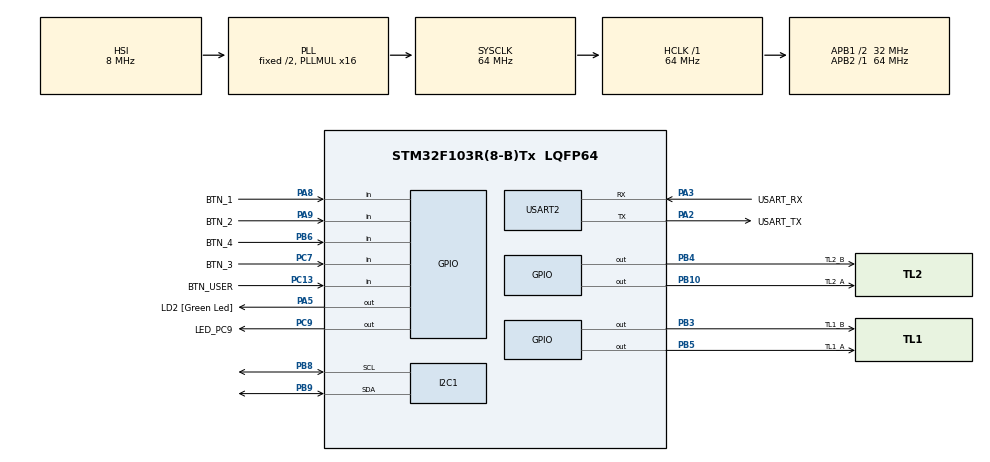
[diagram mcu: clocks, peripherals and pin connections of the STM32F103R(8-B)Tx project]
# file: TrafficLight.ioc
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Mcu.Family=STM32F1
Mcu.Name=STM32F103R(8-B)Tx
Mcu.Package=LQFP64
NVIC.PriorityGroup=NVIC_PRIORITYGROUP_4
NVIC.TIM2_IRQn=true\:0\:0\:false\:false\:true\:true\:true
PA13.GPIO_Label=TMS
PA13.Mode=Serial_Wire
PA13.Signal=SYS_JTMS-SWDIO
PA14.GPIO_Label=TCK
PA14.Mode=Serial_Wire
PA14.Signal=SYS_JTCK-SWCLK
PA2.GPIO_Label=USART_TX
PA2.GPIO_Mode=GPIO_MODE_AF_PP
PA2.GPIO_PuPd=GPIO_NOPULL
PA2.GPIO_Speed=GPIO_SPEED_FREQ_LOW
PA2.Mode=Asynchronous
PA2.Signal=USART2_TX
PA3.GPIO_Label=USART_RX
PA3.GPIO_Mode=GPIO_MODE_AF_PP
PA3.GPIO_PuPd=GPIO_NOPULL
PA3.GPIO_Speed=GPIO_SPEED_FREQ_LOW
PA3.Mode=Asynchronous
PA3.Signal=USART2_RX
PA5.GPIO_Label=LD2 [Green Led]
PA5.GPIO_ModeDefaultOutputPP=GPIO_MODE_OUTPUT_PP
PA5.GPIO_PuPd=GPIO_NOPULL
PA5.GPIO_Speed=GPIO_SPEED_FREQ_LOW
PA5.Signal=GPIO_Output
PA8.GPIO_Label=BTN_1
PA8.GPIO_PuPd=GPIO_PULLUP
PA8.Signal=GPIO_Input
PA9.GPIO_Label=BTN_2
PA9.GPIO_PuPd=GPIO_PULLUP
PA9.Signal=GPIO_Input
PB10.GPIO_Label=TL2_A
PB10.Signal=GPIO_Output
PB3.GPIO_Label=TL1_B
PB3.Signal=GPIO_Output
PB4.GPIO_Label=TL2_B
PB4.Signal=GPIO_Output
PB5.GPIO_Label=TL1_A
PB5.Signal=GPIO_Output
PB6.GPIO_Label=BTN_4
PB6.GPIO_PuPd=GPIO_PULLUP
PB6.Signal=GPIO_Input
PB8.Mode=I2C
PB8.Signal=I2C1_SCL
PB9.Mode=I2C
PB9.Signal=I2C1_SDA
PC13-TAMPER-RTC.GPIO_Label=BTN_USER
PC13-TAMPER-RTC.Signal=GPIO_Input
PC14-OSC32_IN.Mode=LSE-External-Oscillator
PC14-OSC32_IN.Signal=RCC_OSC32_IN
PC15-OSC32_OUT.Mode=LSE-External-Oscillator
PC15-OSC32_OUT.Signal=RCC_OSC32_OUT
PC7.GPIO_Label=BTN_3
PC7.GPIO_PuPd=GPIO_PULLUP
PC7.Signal=GPIO_Input
PC9.GPIO_Label=LED_PC9
PC9.Signal=GPIO_Output
PD0-OSC_IN.Mode=HSE-External-Clock-Source
PD0-OSC_IN.Signal=RCC_OSC_IN
PD1-OSC_OUT.Mode=HSE-External-Clock-Source
PD1-OSC_OUT.Signal=RCC_OSC_OUT
ProjectManager.HeapSize=0x200
ProjectManager.StackSize=0x400
ProjectManager.TargetToolchain=STM32CubeIDE
RCC.AHBFreq_Value=64000000
RCC.APB1CLKDivider=RCC_HCLK_DIV2
RCC.APB1Freq_Value=32000000
RCC.APB1TimFreq_Value=64000000
RCC.APB2Freq_Value=64000000
RCC.APB2TimFreq_Value=64000000
RCC.HCLKFreq_Value=64000000
RCC.PLLMUL=RCC_PLL_MUL16
RCC.RTCClockSelection=RCC_RTCCLKSOURCE_LSE
RCC.SYSCLKFreq_VALUE=64000000
RCC.SYSCLKSource=RCC_SYSCLKSOURCE_PLLCLK
RCC.USBFreq_Value=64000000
TIM2.Period=99
TIM2.Prescaler=6399
USART2.VirtualMode=VM_ASYNC
VP_TIM2_VS_ClockSourceINT.Mode=Internal
board=NUCLEO-F103RB

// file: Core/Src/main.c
/* USER CODE BEGIN Header */
/**
  ******************************************************************************
  * @file           : main.c
  * @brief          : Main program body
  ******************************************************************************
  * @attention
  *
  * <h2><center>&copy; Copyright (c) 2026 STMicroelectronics.
  * All rights reserved.</center></h2>
  *
  * This software component is licensed by ST under BSD 3-Clause license,
  * the "License"; You may not use this file except in compliance with the
  * License. You may obtain a copy of the License at:
  *                        opensource.org/licenses/BSD-3-Clause
  *
  ******************************************************************************
  */
/* USER CODE END Header */
#include "main.h"

/* USER CODE BEGIN Includes */
#include "button.h"
#include "traffic_light.h"
#include "fsm_manual.h"
/* USER CODE END Includes */

/* USER CODE BEGIN PD */
/* Provisional: external inputs are configured with pull-ups. Verify on hardware. */
#define BUTTON_ACTIVE_HIGH_MASK 0x00U
/* USER CODE END PD */

I2C_HandleTypeDef hi2c1;

TIM_HandleTypeDef htim2;

UART_HandleTypeDef huart2;

/* USER CODE BEGIN PV */
static const uint8_t TL_CODES[2][LIGHT_COUNT] = {
    /* OFF, RED, AMBER, GREEN */
    {0, 3, 1, 2}, /* Road 1: D3-D4 */
    {0, 3, 1, 2}  /* Road 2: D5-D6 */
};
static volatile uint8_t tick_10ms = 0U;
/* USER CODE END PV */

void SystemClock_Config(void);
static void MX_GPIO_Init(void);
static void MX_USART2_UART_Init(void);
static void MX_I2C1_Init(void);
static void MX_TIM2_Init(void);

int main(void)
{

  /* MCU Configuration--------------------------------------------------------*/

  /* Reset of all peripherals, Initializes the Flash interface and the Systick. */
  HAL_Init();

  /* Configure the system clock */
  SystemClock_Config();

  /* Initialize all configured peripherals */
  MX_GPIO_Init();
  MX_USART2_UART_Init();
  MX_I2C1_Init();
  MX_TIM2_Init();
  /* USER CODE BEGIN 2 */
  /* Temporary standalone Manual Mode test (before scheduler integration). */
  if (!traffic_init(TL_CODES)) {
    Error_Handler();
  }
  button_init(BUTTON_ACTIVE_HIGH_MASK);
  if (!fsm_manual_enter()) {
    Error_Handler();
  }
  if (HAL_TIM_Base_Start_IT(&htim2) != HAL_OK) {
    Error_Handler();
  }
  /* USER CODE END 2 */

  /* Infinite loop */
  while (1)
  {

    /* USER CODE BEGIN 3 */
    if (tick_10ms) {
      tick_10ms = 0;
      button_scan();
      fsm_manual_run();
    }
  }
  /* USER CODE END 3 */
}

void SystemClock_Config(void)
{
  RCC_OscInitTypeDef RCC_OscInitStruct = {0};
  RCC_ClkInitTypeDef RCC_ClkInitStruct = {0};

  /** Initializes the RCC Oscillators according to the specified parameters
  * in the RCC_OscInitTypeDef structure.
  */
  RCC_OscInitStruct.OscillatorType = RCC_OSCILLATORTYPE_HSI;
  RCC_OscInitStruct.HSIState = RCC_HSI_ON;
  RCC_OscInitStruct.HSICalibrationValue = RCC_HSICALIBRATION_DEFAULT;
  RCC_OscInitStruct.PLL.PLLState = RCC_PLL_ON;
  RCC_OscInitStruct.PLL.PLLSource = RCC_PLLSOURCE_HSI_DIV2;
  RCC_OscInitStruct.PLL.PLLMUL = RCC_PLL_MUL16;
  if (HAL_RCC_OscConfig(&RCC_OscInitStruct) != HAL_OK)
  {
    Error_Handler();
  }
  /** Initializes the CPU, AHB and APB buses clocks
  */
  RCC_ClkInitStruct.ClockType = RCC_CLOCKTYPE_HCLK|RCC_CLOCKTYPE_SYSCLK
                              |RCC_CLOCKTYPE_PCLK1|RCC_CLOCKTYPE_PCLK2;
  RCC_ClkInitStruct.SYSCLKSource = RCC_SYSCLKSOURCE_PLLCLK;
  RCC_ClkInitStruct.AHBCLKDivider = RCC_SYSCLK_DIV1;
  RCC_ClkInitStruct.APB1CLKDivider = RCC_HCLK_DIV2;
  RCC_ClkInitStruct.APB2CLKDivider = RCC_HCLK_DIV1;

  if (HAL_RCC_ClockConfig(&RCC_ClkInitStruct, FLASH_LATENCY_2) != HAL_OK)
  {
    Error_Handler();
  }
}

static void MX_I2C1_Init(void)
{

  hi2c1.Instance = I2C1;
  hi2c1.Init.ClockSpeed = 100000;
  hi2c1.Init.DutyCycle = I2C_DUTYCYCLE_2;
  hi2c1.Init.OwnAddress1 = 0;
  hi2c1.Init.AddressingMode = I2C_ADDRESSINGMODE_7BIT;
  hi2c1.Init.DualAddressMode = I2C_DUALADDRESS_DISABLE;
  hi2c1.Init.OwnAddress2 = 0;
  hi2c1.Init.GeneralCallMode = I2C_GENERALCALL_DISABLE;
  hi2c1.Init.NoStretchMode = I2C_NOSTRETCH_DISABLE;
  if (HAL_I2C_Init(&hi2c1) != HAL_OK)
  {
    Error_Handler();
  }

}

static void MX_TIM2_Init(void)
{

  TIM_ClockConfigTypeDef sClockSourceConfig = {0};
  TIM_MasterConfigTypeDef sMasterConfig = {0};

  htim2.Instance = TIM2;
  htim2.Init.Prescaler = 6399;
  htim2.Init.CounterMode = TIM_COUNTERMODE_UP;
  htim2.Init.Period = 99;
  htim2.Init.ClockDivision = TIM_CLOCKDIVISION_DIV1;
  htim2.Init.AutoReloadPreload = TIM_AUTORELOAD_PRELOAD_DISABLE;
  if (HAL_TIM_Base_Init(&htim2) != HAL_OK)
  {
    Error_Handler();
  }
  sClockSourceConfig.ClockSource = TIM_CLOCKSOURCE_INTERNAL;
  if (HAL_TIM_ConfigClockSource(&htim2, &sClockSourceConfig) != HAL_OK)
  {
    Error_Handler();
  }
  sMasterConfig.MasterOutputTrigger = TIM_TRGO_RESET;
  sMasterConfig.MasterSlaveMode = TIM_MASTERSLAVEMODE_DISABLE;
  if (HAL_TIMEx_MasterConfigSynchronization(&htim2, &sMasterConfig) != HAL_OK)
  {
    Error_Handler();
  }

}

static void MX_USART2_UART_Init(void)
{

  huart2.Instance = USART2;
  huart2.Init.BaudRate = 115200;
  huart2.Init.WordLength = UART_WORDLENGTH_8B;
  huart2.Init.StopBits = UART_STOPBITS_1;
  huart2.Init.Parity = UART_PARITY_NONE;
  huart2.Init.Mode = UART_MODE_TX_RX;
  huart2.Init.HwFlowCtl = UART_HWCONTROL_NONE;
  huart2.Init.OverSampling = UART_OVERSAMPLING_16;
  if (HAL_UART_Init(&huart2) != HAL_OK)
  {
    Error_Handler();
  }

}

static void MX_GPIO_Init(void)
{
  GPIO_InitTypeDef GPIO_InitStruct = {0};

  /* GPIO Ports Clock Enable */
  __HAL_RCC_GPIOC_CLK_ENABLE();
  __HAL_RCC_GPIOD_CLK_ENABLE();
  __HAL_RCC_GPIOA_CLK_ENABLE();
  __HAL_RCC_GPIOB_CLK_ENABLE();

  /*Configure GPIO pin Output Level */
  HAL_GPIO_WritePin(LD2_GPIO_Port, LD2_Pin, GPIO_PIN_RESET);

  /*Configure GPIO pin Output Level */
  HAL_GPIO_WritePin(GPIOB, TL2_B_Pin|TL1_A_Pin|TL2_A_Pin|TL1_B_Pin, GPIO_PIN_RESET);

  /*Configure GPIO pin Output Level */
  HAL_GPIO_WritePin(LED_PC9_GPIO_Port, LED_PC9_Pin, GPIO_PIN_RESET);

  /*Configure GPIO pin : BTN_USER_Pin */
  GPIO_InitStruct.Pin = BTN_USER_Pin;
  GPIO_InitStruct.Mode = GPIO_MODE_INPUT;
  GPIO_InitStruct.Pull = GPIO_NOPULL;
  HAL_GPIO_Init(BTN_USER_GPIO_Port, &GPIO_InitStruct);

  /*Configure GPIO pin : LD2_Pin */
  GPIO_InitStruct.Pin = LD2_Pin;
  GPIO_InitStruct.Mode = GPIO_MODE_OUTPUT_PP;
  GPIO_InitStruct.Pull = GPIO_NOPULL;
  GPIO_InitStruct.Speed = GPIO_SPEED_FREQ_LOW;
  HAL_GPIO_Init(LD2_GPIO_Port, &GPIO_InitStruct);

  /*Configure GPIO pins : TL2_B_Pin TL1_A_Pin TL2_A_Pin TL1_B_Pin */
  GPIO_InitStruct.Pin = TL2_B_Pin|TL1_A_Pin|TL2_A_Pin|TL1_B_Pin;
  GPIO_InitStruct.Mode = GPIO_MODE_OUTPUT_PP;
  GPIO_InitStruct.Pull = GPIO_NOPULL;
  GPIO_InitStruct.Speed = GPIO_SPEED_FREQ_LOW;
  HAL_GPIO_Init(GPIOB, &GPIO_InitStruct);

  /*Configure GPIO pin : BTN_3_Pin */
  GPIO_InitStruct.Pin = BTN_3_Pin;
  GPIO_InitStruct.Mode = GPIO_MODE_INPUT;
  GPIO_InitStruct.Pull = GPIO_PULLUP;
  HAL_GPIO_Init(BTN_3_GPIO_Port, &GPIO_InitStruct);

  /*Configure GPIO pin : LED_PC9_Pin */
  GPIO_InitStruct.Pin = LED_PC9_Pin;
  GPIO_InitStruct.Mode = GPIO_MODE_OUTPUT_PP;
  GPIO_InitStruct.Pull = GPIO_NOPULL;
  GPIO_InitStruct.Speed = GPIO_SPEED_FREQ_LOW;
  HAL_GPIO_Init(LED_PC9_GPIO_Port, &GPIO_InitStruct);

  /*Configure GPIO pins : BTN_1_Pin BTN_2_Pin */
  GPIO_InitStruct.Pin = BTN_1_Pin|BTN_2_Pin;
  GPIO_InitStruct.Mode = GPIO_MODE_INPUT;
  GPIO_InitStruct.Pull = GPIO_PULLUP;
  HAL_GPIO_Init(GPIOA, &GPIO_InitStruct);

  /*Configure GPIO pin : BTN_4_Pin */
  GPIO_InitStruct.Pin = BTN_4_Pin;
  GPIO_InitStruct.Mode = GPIO_MODE_INPUT;
  GPIO_InitStruct.Pull = GPIO_PULLUP;
  HAL_GPIO_Init(BTN_4_GPIO_Port, &GPIO_InitStruct);

}

/* USER CODE BEGIN 4 */
/* TEMPORARY: replace the body with SCH_Update() when the scheduler is merged. */
void HAL_TIM_PeriodElapsedCallback(TIM_HandleTypeDef *htim)
{
    if (htim->Instance == TIM2) tick_10ms = 1;
}
/* USER CODE END 4 */

void Error_Handler(void)
{
  __disable_irq();
  while (1)
  {
  }
}

/************************ (C) COPYRIGHT STMicroelectronics *****END OF FILE****/
